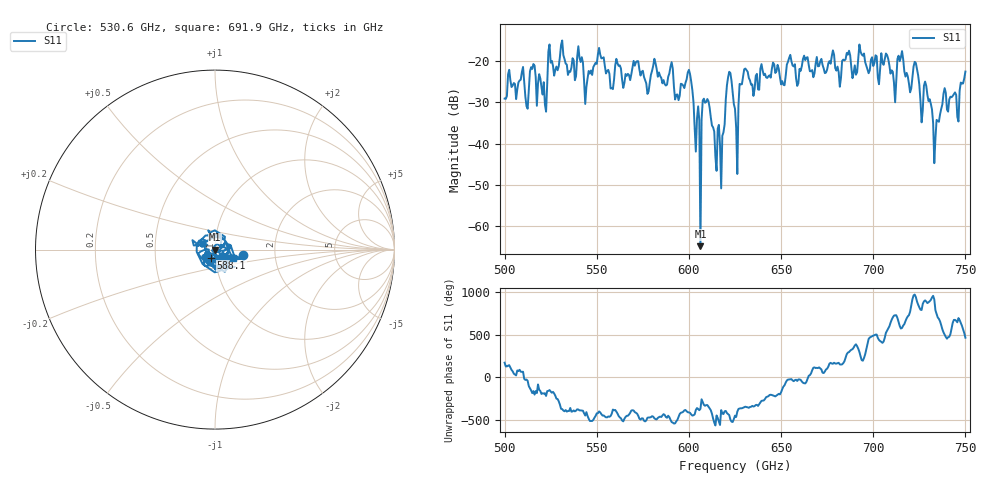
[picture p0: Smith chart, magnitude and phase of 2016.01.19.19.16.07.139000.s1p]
!Created with skrf (http://scikit-rf.org).
# GHz S RI R 50.0
!freq ReS11 ImS11
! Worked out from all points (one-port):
!   401 points, 500 GHz to 750 GHz, reference 50 ohm
!   lowest |S11| = -65.0 dB at 606.2 GHz (marker M1), VSWR 1.00, Z = 50.1 - j0.0107 ohm
!   |S11| at or under -10 dB: start of sweep to end of sweep
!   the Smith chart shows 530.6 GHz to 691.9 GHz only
!   S11 on the Smith chart (normalised r, x): 530.6 GHz: 1.37, -0.08; 588.1 GHz: 0.95, -0.09; 691.9 GHz: 1.21, -0.12
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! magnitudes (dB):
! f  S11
! 500 GHz  -29.1
! 511.9 GHz  -30.9
! 515 GHz  -21.8
! 521.9 GHz  -30.5
! 525 GHz  -20.3
! 530.6 GHz  -16.0
! 531.2 GHz  -14.9
! 544.4 GHz  -26.2
! 551.9 GHz  -18.3
! 558.1 GHz  -26.5
! 562.5 GHz  -21.0
! 588.1 GHz  -25.7
! 593.8 GHz  -28.0
! 600 GHz  -22.0
! 605 GHz  -30.9
! 606.2 GHz  -65.0
! 609.4 GHz  -29.9
! 618.1 GHz  -38.1
! 621.9 GHz  -22.5
! 625 GHz  -31.5
! 630.6 GHz  -21.7
! 656.2 GHz  -21.0
! 687.5 GHz  -18.5
! 691.9 GHz  -19.3
! 718.8 GHz  -23.6
! 723.1 GHz  -20.4
! 733.8 GHz  -38.7
! 750 GHz  -22.5
